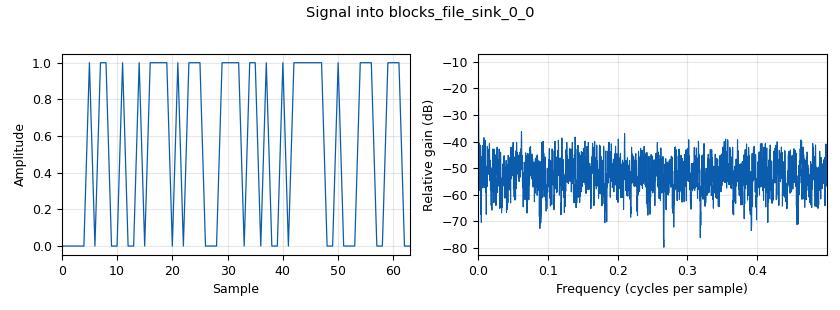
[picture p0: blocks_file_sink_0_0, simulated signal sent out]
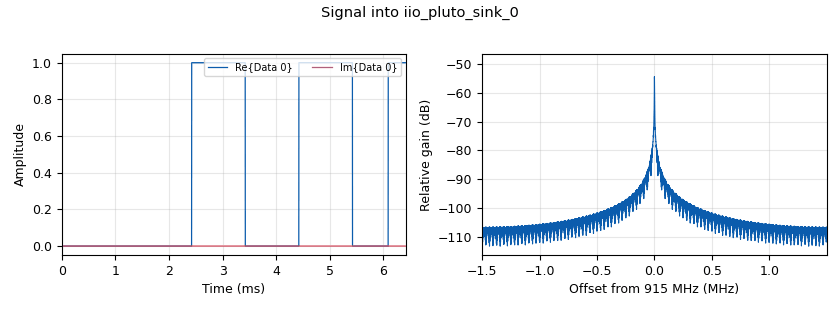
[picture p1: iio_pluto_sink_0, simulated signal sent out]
options:
  parameters:
    author: root
    generate_options: qt_gui
    id: Transceiver
    output_language: python
    title: Transceiver
  states: {}

blocks:
- name: rx_freq
  id: variable
  parameters:
    value: '2000000000'
  states: {}
- name: samp_rate
  id: variable
  parameters:
    value: '3000000'
  states: {}
- name: tx_freq
  id: variable
  parameters:
    value: '915000000'
  states: {}
- name: tx_ip
  id: variable
  parameters:
    value: '''usb:1.4.5'''
  states: {}
- name: blocks_complex_to_real_0
  id: blocks_complex_to_real
  parameters: {}
  states: {}
- name: blocks_complex_to_real_0_0
  id: blocks_complex_to_real
  parameters: {}
  states: {}
- name: blocks_file_sink_0
  id: blocks_file_sink
  parameters:
    file: result.bin
    type: float
  states: {}
- name: blocks_file_sink_0_0
  id: blocks_file_sink
  parameters:
    file: origin.bin
    type: float
  states: {}
- name: blocks_head_0
  id: blocks_head
  parameters:
    num_items: '1000000'
    type: float
  states: {}
- name: blocks_head_0_0
  id: blocks_head
  parameters:
    num_items: '1000000'
    type: float
  states: {}
- name: blocks_repeat_0
  id: blocks_repeat
  parameters:
    interp: '1000'
    type: complex
  states: {}
- name: blocks_vector_source_x_0
  id: blocks_vector_source_x
  parameters:
    repeat: 'True'
    type: complex
    vector: (1,1,0,0,0,0,1,0,1,0,1,1,1,1,0,0,0,1,1,0,0,0,0,1,0,0,0,1,1,0,1,0,1,1,1,0,1,0,0,0,1,0,0,0,0,0,1,0,0,0,0,0,1,0,0,0,0,0,1,1,1,0,0,1,1,1,0,1,0,0,1,0,0,1,1,1,1,1,1,0,1,1,0,0,1,0,1,1,0,0,1,0,1,1,1,0,0,0,1,1,1,0,1,0,0,1,0,1,1,1,1,0,1,1,1,0,0,0,1,1,1,0,0,0,1,0,0,1,0,1,0,0,1,0,0,0,1,0,0,0,0,1,0,1,1,0,1,1,0,1,0,1,0,0,1,0,1,0,0,0,1,0,0,1,0,0,1,1,0,0,0,0,0,1,1,1,0,1,0,0,0,0,0,0,0,0,0,0,1,1,1,0,0,0,1,1,1,0,0,1,1,0,0,0,0,1,0,1,0,1,0,0,0,1,1,0,1,0,1,1,1,0,0,0,0,0,1,1,0,0,0,0,0,0,1,1,1,0,0,1,1,1,1,0,1,0,0,0,1,0,0,1,1,1,1,0,1,1,1,0,1,1,0,1,0,1,0,0,0,0,0,1,1,1,0,1,1,1,0,0,1,0,0,1,1,1,1,0,0,1,0,1,1,1,1,1,1,0,0,1,1,0,1,0,1,1,0,0,0,0,0,1,0,1,1,1,0,1,0,1,0,0,0,1,0,0,1,0,1,0,1,0,1,1,1,1,0,1,1,1,0,0,0,0,1,1,0,1,0,1,1,0,1,0,1,1,1,1,1,1,0,0,0,0,0,1,1,0,0,1,1,1,1,1,0,1,0,0,1,1,0,1,1,1,1,1,1,0,1,1,0,1,0,1,0,0,0,0,0,1,1,1,0,1,1,1,0,0,1,1,0,0,1,0,1,0,0,1,1,1,0,0,0,0,0,1,0,0,1,1,0,0,0,0,1,1,1,0,0,0,1,0,1,1,0,1,0,0,1,1,1,1,0,1,0,1,1,1,0,1,1,0,1,1,1,0,1,0,1,0,0,1,1,0,1,1,1,0,0,1,0,0,1,1,1,1,0,0,0,0,1,1,0,1,0,1,0,1,0,1,1,0,1,0,0,1,0,1,0,1,1,1,0,1,1,0,0,1,1,0,0,0,0,0,0,0,0,0,1,0,1,0,0,0,1,1,1,1,1,0,0,0,0,1,1,1,1,0,1,1,0,1,1,1,1,0,0,1,0,1,1,1,0,0,0,0,1,1,1,0,0,1,0,1,1,0,1,1,1,1,1,1,1,1,0,0,1,1,0,1,1,1,0,1,1,1,1,0,1,0,0,1,1,1,0,1,0,1,1,1,0,0,0,1,1,1,1,1,0,1,0,0,1,1,1,0,1,1,0,0,0,1,0,1,1,0,0,1,1,1,1,0,0,1,1,1,0,1,0,0,0,1,0,0,0,0,1,1,0,0,1,1,1,1,0,1,0,0,0,0,0,0,0,1,0,0,1,1,1,1,1,1,1,0,0,0,0,1,0,0,1,0,1,1,1,1,0,0,1,1,1,1,1,1,0,0,0,1,1,1,1,0,1,1,0,1,1,0,1,1,0,0,0,1,1,0,1,1,1,1,0,0,1,0,0,0,1,0,1,0,1,1,0,1,0,1,1,0,0,0,0,0,1,1,1,1,0,1,0,1,0,1,0,1,1,1,1,1,0,0,1,1,1,0,1,1,0,1,1,0,1,1,0,1,1,1,1,0,0,1,1,0,0,0,0,0,1,0,0,0,0,0,0,0,0,0,0,0,0,1,0,1,0,0,0,0,0,0,0,0,0,0,1,1,1,0,0,0,1,0,0,0,0,0,1,0,1,1,0,1,1,1,1,0,1,0,0,1,1,0,0,1,1,1,1,0,1,0,1,0,1,1,0,0,0,0,0,1,0,1,0,0,0,0,1,1,1,1,0,0,0,0,0,1,1,1,0,0,1,1,1,1,1,1,0,1,0,0,0,0,1,0,1,0,0,1,0,1,1,0,0,1,1,1,0,0,1,1,1,1,1,0,1,0,0,1,0,1,1,0,0,0,1,0,0,0,0,0,0,0,0,1,0,1,1,0,0,1,0,0,1,0,1,1,1,1,0,1,0,1,1,1,0,0,0,1,1,1,1,0,1,1,0,1,0,0,1,0,1,1,1,1,1,1,0,0,1,0,0,0,1,1,1,0,0,1,1,1,0,0)
  states: {}
- name: iio_pluto_sink_0
  id: iio_pluto_sink
  parameters:
    attenuation1: '0'
    bandwidth: '20000000'
    buffer_size: '32768'
    cyclic: 'False'
    filter_source: '''Auto'''
    frequency: tx_freq
    samplerate: samp_rate
    type: fc32
    uri: tx_ip
  states: {}
- name: iio_pluto_source_0
  id: iio_pluto_source
  parameters:
    bandwidth: '20000000'
    bbdc: 'True'
    buffer_size: '32768'
    filter_source: '''Auto'''
    frequency: rx_freq
    gain1: '''manual'''
    manual_gain1: '50'
    quadrature: 'True'
    rfdc: 'True'
    samplerate: int(samp_rate)
    type: fc32
    uri: tx_ip
  states: {}
- name: qtgui_time_sink_x_0
  id: qtgui_time_sink_x
  parameters:
    size: '1024'
    srate: samp_rate
    type: complex
  states: {}

connections:
- [blocks_complex_to_real_0, '0', blocks_head_0, '0']
- [blocks_complex_to_real_0_0, '0', blocks_head_0_0, '0']
- [blocks_head_0, '0', blocks_file_sink_0, '0']
- [blocks_head_0_0, '0', blocks_file_sink_0_0, '0']
- [blocks_repeat_0, '0', iio_pluto_sink_0, '0']
- [blocks_vector_source_x_0, '0', blocks_complex_to_real_0_0, '0']
- [blocks_vector_source_x_0, '0', blocks_repeat_0, '0']
- [iio_pluto_source_0, '0', blocks_complex_to_real_0, '0']
- [iio_pluto_source_0, '0', qtgui_time_sink_x_0, '0']

metadata:
  file_format: 1
  grc_version: 3.10.9.2
